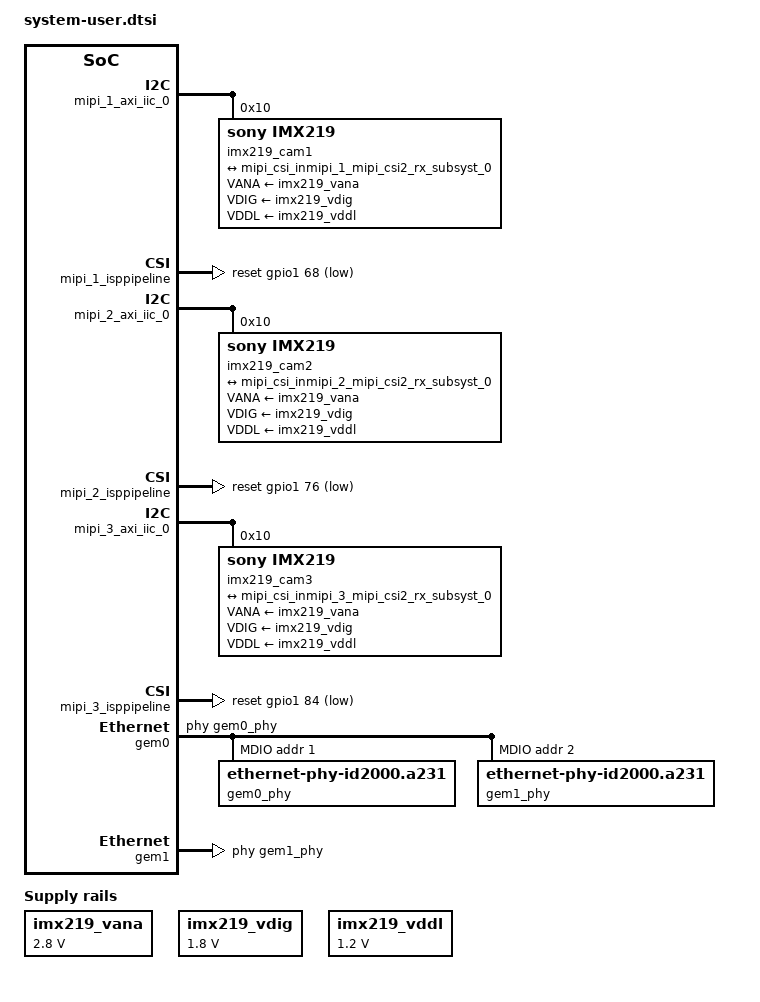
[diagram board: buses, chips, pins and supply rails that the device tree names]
// SPDX-License-Identifier: MIT
// Copyright (C) 2025-2026, Opsero Electronic Design Inc.  All rights reserved.

/*
 * Board / design fixups for vck190_fmcp2 (VCK190 FMCP2, Versal), layered on top
 * of the gen-machineconf / lopper-generated Linux device tree (which already
 * carries the PS config and the design's PL hardware from the XSA). Scoped to
 * the Linux domain by device-tree.bbappend. Camera part ported from the
 * ZynqMP BSPs (Yocto/bsp/zcu106); cameras on this target: CAM1, CAM2, CAM3.
 */

&amba_pl {
	imx219_clk: imx219_clk {
		#clock-cells = <0x0>;
		clock-frequency = <24000000>;
		compatible = "fixed-clock";
	};

	imx219_vana: fixedregulator@3 {
		compatible = "regulator-fixed";
		regulator-name = "imx219_vana";
		regulator-min-microvolt = <2800000>;
		regulator-max-microvolt = <2800000>;
		enable-active-high;
	};

	imx219_vdig: fixedregulator@4 {
		compatible = "regulator-fixed";
		regulator-name = "imx219_vdig";
		regulator-min-microvolt = <1800000>;
		regulator-max-microvolt = <1800000>;
	};

	imx219_vddl: fixedregulator@5 {
		compatible = "regulator-fixed";
		regulator-name = "imx219_vddl";
		regulator-min-microvolt = <1200000>;
		regulator-max-microvolt = <1200000>;
	};
};

&mipi_1_axi_iic_0 {
	imx219_cam1: sensor@10 {
		compatible = "sony,imx219";
		reg = <0x10>;
		clocks = <&imx219_clk>;
		VANA-supply = <&imx219_vana>;   /* 2.8v */
		VDIG-supply = <&imx219_vdig>;   /* 1.8v */
		VDDL-supply = <&imx219_vddl>;   /* 1.2v */

		port {
			imx219_cam1_0: endpoint {
				remote-endpoint = <&mipi_csi_inmipi_1_mipi_csi2_rx_subsyst_0>;
				data-lanes = <1 2>;
				link-frequencies = /bits/ 64 <456000000>;
			};
		};
	};
};

&mipi_1_mipi_csi2_rx_subsyst_0 {
	xlnx,en-active-lanes;
};

&mipi_csi_inmipi_1_mipi_csi2_rx_subsyst_0 {
	remote-endpoint = <&imx219_cam1_0>;
};

&mipi_csi_port0mipi_1_mipi_csi2_rx_subsyst_0 {
	xlnx,cfa-pattern = "rggb";
	xlnx,video-format = <12>;
	xlnx,video-width = <8>;
};

&mipi_csi_port1mipi_1_mipi_csi2_rx_subsyst_0 {
	xlnx,cfa-pattern = "rggb";
	xlnx,video-format = <12>;
	xlnx,video-width = <8>;
};

/* IP resets are PMC EMIO GPIOs (bits 16..18) = pmc_gpio (gpio1) offsets
 * 52+bit (xlnx,pmc-gpio-1.0: EMIO bank 3 starts at 52). lopper 2025.2 maps
 * them to the PS GPIO (gpio0, offset 26+bit), which is disabled and is not the
 * controller driving PMC_GPIO_o, so all reset-gpios are overridden here. */
&mipi_1_isppipeline {
	reset-gpios = <&gpio1 68 1>;
	xlnx,max-height = /bits/ 16 <1232>;
	xlnx,max-width = /bits/ 16 <1920>;
	xlnx,rgain = /bits/ 16 <128>;
	xlnx,bgain = /bits/ 16 <210>;
	xlnx,pawb = /bits/ 16 <350>;
	xlnx,mode-reg = <1>;
};

&isppipeline_port0mipi_1_isppipeline {
	xlnx,video-width = <10>;
	xlnx,cfa-pattern = "rggb";
};

&isppipeline_port1mipi_1_isppipeline {
	xlnx,video-width = <8>;
	xlnx,cfa-pattern = "rggb";
};

&mipi_1_v_proc {
	compatible = "xlnx,v-vpss-scaler-2.2";
	reset-gpios = <&gpio1 69 1>;
};

&mipi_1_v_frmbuf_wr {
	reset-gpios = <&gpio1 70 1>;
};

&mipi_2_axi_iic_0 {
	imx219_cam2: sensor@10 {
		compatible = "sony,imx219";
		reg = <0x10>;
		clocks = <&imx219_clk>;
		VANA-supply = <&imx219_vana>;   /* 2.8v */
		VDIG-supply = <&imx219_vdig>;   /* 1.8v */
		VDDL-supply = <&imx219_vddl>;   /* 1.2v */

		port {
			imx219_cam2_0: endpoint {
				remote-endpoint = <&mipi_csi_inmipi_2_mipi_csi2_rx_subsyst_0>;
				data-lanes = <1 2>;
				link-frequencies = /bits/ 64 <456000000>;
			};
		};
	};
};

&mipi_2_mipi_csi2_rx_subsyst_0 {
	xlnx,en-active-lanes;
};

&mipi_csi_inmipi_2_mipi_csi2_rx_subsyst_0 {
	remote-endpoint = <&imx219_cam2_0>;
};

&mipi_csi_port0mipi_2_mipi_csi2_rx_subsyst_0 {
	xlnx,cfa-pattern = "rggb";
	xlnx,video-format = <12>;
	xlnx,video-width = <8>;
};

&mipi_csi_port1mipi_2_mipi_csi2_rx_subsyst_0 {
	xlnx,cfa-pattern = "rggb";
	xlnx,video-format = <12>;
	xlnx,video-width = <8>;
};

/* IP resets are PMC EMIO GPIOs (bits 24..26) = pmc_gpio (gpio1) offsets
 * 52+bit (xlnx,pmc-gpio-1.0: EMIO bank 3 starts at 52). lopper 2025.2 maps
 * them to the PS GPIO (gpio0, offset 26+bit), which is disabled and is not the
 * controller driving PMC_GPIO_o, so all reset-gpios are overridden here. */
&mipi_2_isppipeline {
	reset-gpios = <&gpio1 76 1>;
	xlnx,max-height = /bits/ 16 <1232>;
	xlnx,max-width = /bits/ 16 <1920>;
	xlnx,rgain = /bits/ 16 <128>;
	xlnx,bgain = /bits/ 16 <210>;
	xlnx,pawb = /bits/ 16 <350>;
	xlnx,mode-reg = <1>;
};

&isppipeline_port0mipi_2_isppipeline {
	xlnx,video-width = <10>;
	xlnx,cfa-pattern = "rggb";
};

&isppipeline_port1mipi_2_isppipeline {
	xlnx,video-width = <8>;
	xlnx,cfa-pattern = "rggb";
};

&mipi_2_v_proc {
	compatible = "xlnx,v-vpss-scaler-2.2";
	reset-gpios = <&gpio1 77 1>;
};

&mipi_2_v_frmbuf_wr {
	reset-gpios = <&gpio1 78 1>;
};

&mipi_3_axi_iic_0 {
	imx219_cam3: sensor@10 {
		compatible = "sony,imx219";
		reg = <0x10>;
		clocks = <&imx219_clk>;
		VANA-supply = <&imx219_vana>;   /* 2.8v */
		VDIG-supply = <&imx219_vdig>;   /* 1.8v */
		VDDL-supply = <&imx219_vddl>;   /* 1.2v */

		port {
			imx219_cam3_0: endpoint {
				remote-endpoint = <&mipi_csi_inmipi_3_mipi_csi2_rx_subsyst_0>;
				data-lanes = <1 2>;
				link-frequencies = /bits/ 64 <456000000>;
			};
		};
	};
};

&mipi_3_mipi_csi2_rx_subsyst_0 {
	xlnx,en-active-lanes;
};

&mipi_csi_inmipi_3_mipi_csi2_rx_subsyst_0 {
	remote-endpoint = <&imx219_cam3_0>;
};

&mipi_csi_port0mipi_3_mipi_csi2_rx_subsyst_0 {
	xlnx,cfa-pattern = "rggb";
	xlnx,video-format = <12>;
	xlnx,video-width = <8>;
};

&mipi_csi_port1mipi_3_mipi_csi2_rx_subsyst_0 {
	xlnx,cfa-pattern = "rggb";
	xlnx,video-format = <12>;
	xlnx,video-width = <8>;
};

/* IP resets are PMC EMIO GPIOs (bits 32..34) = pmc_gpio (gpio1) offsets
 * 52+bit (xlnx,pmc-gpio-1.0: EMIO bank 3 starts at 52). lopper 2025.2 maps
 * them to the PS GPIO (gpio0, offset 26+bit), which is disabled and is not the
 * controller driving PMC_GPIO_o, so all reset-gpios are overridden here. */
&mipi_3_isppipeline {
	reset-gpios = <&gpio1 84 1>;
	xlnx,max-height = /bits/ 16 <1232>;
	xlnx,max-width = /bits/ 16 <1920>;
	xlnx,rgain = /bits/ 16 <128>;
	xlnx,bgain = /bits/ 16 <210>;
	xlnx,pawb = /bits/ 16 <350>;
	xlnx,mode-reg = <1>;
};

&isppipeline_port0mipi_3_isppipeline {
	xlnx,video-width = <10>;
	xlnx,cfa-pattern = "rggb";
};

&isppipeline_port1mipi_3_isppipeline {
	xlnx,video-width = <8>;
	xlnx,cfa-pattern = "rggb";
};

&mipi_3_v_proc {
	compatible = "xlnx,v-vpss-scaler-2.2";
	reset-gpios = <&gpio1 85 1>;
};

&mipi_3_v_frmbuf_wr {
	reset-gpios = <&gpio1 86 1>;
};

/* Display pipeline (v_mix + v_tc -> DVI over HDMI): wired up by the dvi-out
 * layer (Yocto/bsp/dvi-out, dvi-out.dtsi), added via bblayers-extra.txt.
 * Mixer reset = PMC EMIO GPIO bit 1. */
&display_pipeline_v_mix_0 {
	reset-gpios = <&gpio1 53 1>;
};

/* Board RJ45s (GEM0 = u198 PHY, GEM1 = u134 PHY): the SDT flow does not
 * describe the board-level TI DP83867 PHYs, so Linux falls back to the
 * Generic PHY driver and the RGMII clock delays are never programmed -
 * the link negotiates 1G but passes no packets. Both PHYs sit on GEM0's
 * MDIO bus. Values from the official versal-vmk180-revA.dts (which the
 * vck190 dts includes), as in the other Opsero VCK190 BSPs. Fixed MACs
 * (bench allocation, scripts/board_configs.json) keep DHCP leases stable.
 */
&gem0 {
	local-mac-address = [00 0a 35 06 21 90];
	phy-handle = <&gem0_phy>;
	mdio {
		#address-cells = <1>;
		#size-cells = <0>;
		gem0_phy: ethernet-phy@1 {
			compatible = "ethernet-phy-id2000.a231";
			reg = <1>;
			ti,rx-internal-delay = <0xb>;
			ti,tx-internal-delay = <0xa>;
			ti,fifo-depth = <0x1>;
			ti,dp83867-rxctrl-strap-quirk;
		};
		gem1_phy: ethernet-phy@2 {
			compatible = "ethernet-phy-id2000.a231";
			reg = <2>;
			ti,rx-internal-delay = <0xb>;
			ti,tx-internal-delay = <0xa>;
			ti,fifo-depth = <0x1>;
			ti,dp83867-rxctrl-strap-quirk;
		};
	};
};

&gem1 {
	local-mac-address = [00 0a 35 06 21 91];
	phy-handle = <&gem1_phy>;
};
